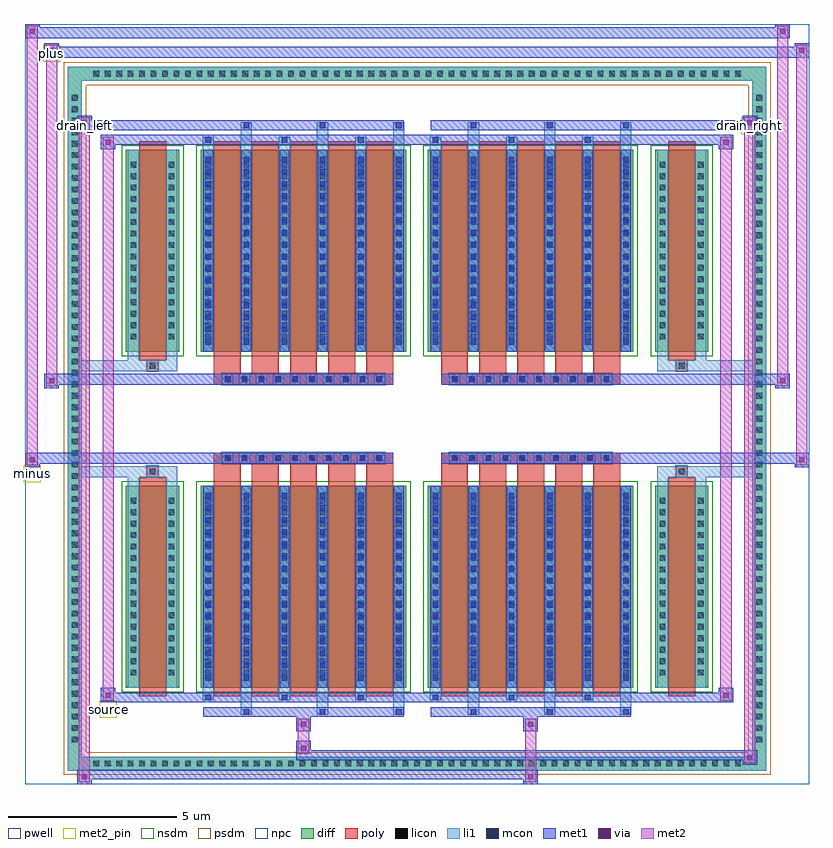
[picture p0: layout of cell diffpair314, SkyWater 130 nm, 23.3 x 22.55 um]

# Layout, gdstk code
import gdstk
lib = gdstk.Library(unit=1e-6, precision=5e-09)
def R(c, l, rs):  # rectangles x0, y0, x1, y1
    for r in rs: c.add(gdstk.rectangle(r[:2], r[2:], *l))
def A(c, l, x, y, w, h, nx, ny, dx, dy):  # array of equal rectangles
    R(c, l, [(x+i*dx, y+j*dy, x+i*dx+w, y+j*dy+h) for i in range(nx) for j in range(ny)])
def P(c, l, *ps):  # polygons
    for p in ps: c.add(gdstk.Polygon(p, *l))
pwell = (64, 44)
diff = (65, 20)
poly = (66, 20)
licon = (66, 44)
li1 = (67, 20)
mcon = (67, 44)
met1 = (68, 20)
via = (68, 44)
met2_pin = (69, 16)
met2 = (69, 20)
nsdm = (93, 44)
psdm = (94, 20)
npc = (95, 20)

diffpair314 = lib.new_cell('diffpair314')
R(diffpair314, pwell, [(-11.63,-10.84,11.63,11.71), (-8.95,-9.03,-0.01,-0.805), (0.01,-9.03,8.95,-0.805), (-8.95,0.805,-0.01,9.03), (0.01,0.805,8.95,9.03)])
A(diffpair314, diff, -9.725, -10.44, 0.41, 0.41, 57, 2, 0.34, 20.47)
A(diffpair314, diff, -10.36, -9.725, 0.41, 0.41, 1, 57, 0, 0.34)
A(diffpair314, diff, 9.95, -9.725, 0.41, 0.41, 1, 57, 0, 0.34)
R(diffpair314, diff, [(-9.725,-10.44,9.725,-10.03), (-10.36,-9.725,-9.95,9.725), (9.95,-9.725,10.36,9.725), (-8.64,-7.985,-7.06,-1.985), (-6.42,-7.985,-0.32,-1.985), (0.32,-7.985,6.42,-1.985), (7.06,-7.985,8.64,-1.985), (-8.64,1.985,-7.06,7.985), (-6.42,1.985,-0.32,7.985), (0.32,1.985,6.42,7.985), (7.06,1.985,8.64,7.985), (-9.725,10.03,9.725,10.44)])
P(diffpair314, diff, [(10.36,10.44),(-10.36,10.44),(-10.36,-10.03),(-9.95,-10.03),(-9.95,10.03),(9.95,10.03),(9.95,-10.03),(-9.95,-10.03),(-10.36,-10.03),(-10.36,-10.44),(10.36,-10.44)])
A(diffpair314, poly, -6.03, -8.235, 0.8, 6.5, 5, 2, 1.13, 9.97)
A(diffpair314, poly, 0.71, -8.235, 0.8, 6.5, 5, 2, 1.13, 9.97)
A(diffpair314, poly, -6.03, -1.735, 0.8, 0.4, 5, 2, 1.13, 3.07)
A(diffpair314, poly, 0.71, -1.735, 0.8, 0.4, 5, 2, 1.13, 3.07)
A(diffpair314, poly, -5.785, -1.335, 0.33, 0.33, 10, 2, 0.5, 2.34)
A(diffpair314, poly, 0.955, -1.335, 0.33, 0.33, 10, 2, 0.5, 2.34)
R(diffpair314, poly, [(-8.25,-8.235,-7.45,-1.735), (7.45,-8.235,8.25,-1.735), (-8.015,-1.735,-7.685,-1.405), (-8.015,-1.735,-7.685,-1.405), (7.685,-1.735,8.015,-1.405), (7.685,-1.735,8.015,-1.405), (-6.03,-1.335,-0.71,-1.005), (0.71,-1.335,6.03,-1.005), (-6.03,1.005,-0.71,1.335), (0.71,1.005,6.03,1.335), (-8.015,1.405,-7.685,1.735), (-8.015,1.405,-7.685,1.735), (7.685,1.405,8.015,1.735), (7.685,1.405,8.015,1.735), (-8.25,1.735,-7.45,8.235), (7.45,1.735,8.25,8.235)])
A(diffpair314, licon, -9.605, -10.32, 0.17, 0.17, 57, 2, 0.34, 20.47)
A(diffpair314, licon, -10.24, -9.605, 0.17, 0.17, 1, 57, 0, 0.34)
A(diffpair314, licon, 10.07, -9.605, 0.17, 0.17, 1, 57, 0, 0.34)
A(diffpair314, licon, -8.5, -7.62, 0.17, 0.17, 1, 16, 0, 0.34)
A(diffpair314, licon, -7.37, -7.62, 0.17, 0.17, 1, 16, 0, 0.34)
A(diffpair314, licon, -6.28, -7.62, 0.17, 0.17, 6, 16, 1.13, 0.34)
A(diffpair314, licon, 0.46, -7.62, 0.17, 0.17, 6, 16, 1.13, 0.34)
A(diffpair314, licon, 7.2, -7.62, 0.17, 0.17, 1, 16, 0, 0.34)
A(diffpair314, licon, 8.33, -7.62, 0.17, 0.17, 1, 16, 0, 0.34)
A(diffpair314, licon, -5.705, -1.255, 0.17, 0.17, 10, 2, 0.5, 2.34)
A(diffpair314, licon, 1.035, -1.255, 0.17, 0.17, 10, 2, 0.5, 2.34)
A(diffpair314, licon, -8.5, 2.35, 0.17, 0.17, 1, 16, 0, 0.34)
A(diffpair314, licon, -7.37, 2.35, 0.17, 0.17, 1, 16, 0, 0.34)
A(diffpair314, licon, -6.28, 2.35, 0.17, 0.17, 6, 16, 1.13, 0.34)
A(diffpair314, licon, 0.46, 2.35, 0.17, 0.17, 6, 16, 1.13, 0.34)
A(diffpair314, licon, 7.2, 2.35, 0.17, 0.17, 1, 16, 0, 0.34)
A(diffpair314, licon, 8.33, 2.35, 0.17, 0.17, 1, 16, 0, 0.34)
R(diffpair314, licon, [(-7.935,-1.655,-7.765,-1.485), (7.765,-1.655,7.935,-1.485), (-7.935,1.485,-7.765,1.655), (7.765,1.485,7.935,1.655)])
A(diffpair314, li1, -9.685, -10.4, 0.33, 0.33, 57, 2, 0.34, 20.47)
A(diffpair314, li1, -10.32, -9.685, 0.33, 0.33, 1, 57, 0, 0.34)
A(diffpair314, li1, 9.99, -9.685, 0.33, 0.33, 1, 57, 0, 0.34)
A(diffpair314, li1, -5.23, -8.79, 0.33, 0.805, 3, 2, 2.26, 16.775)
A(diffpair314, li1, -5.15, -8.79, 0.17, 0.17, 3, 2, 2.26, 17.41)
A(diffpair314, li1, 1.51, -8.79, 0.33, 0.805, 3, 2, 2.26, 16.775)
A(diffpair314, li1, 1.59, -8.79, 0.17, 0.17, 3, 2, 2.26, 17.41)
A(diffpair314, li1, -6.36, -8.36, 0.33, 0.375, 3, 2, 2.26, 16.345)
A(diffpair314, li1, -6.28, -8.36, 0.17, 0.17, 3, 2, 2.26, 16.55)
A(diffpair314, li1, 0.38, -8.36, 0.33, 0.375, 3, 2, 2.26, 16.345)
A(diffpair314, li1, 0.46, -8.36, 0.17, 0.17, 3, 2, 2.26, 16.55)
A(diffpair314, li1, -6.36, -7.985, 0.33, 6, 6, 2, 1.13, 9.97)
A(diffpair314, li1, 0.38, -7.985, 0.33, 6, 6, 2, 1.13, 9.97)
A(diffpair314, li1, -6.28, -7.77, 0.17, 0.17, 6, 16, 1.13, 0.36)
A(diffpair314, li1, -6.28, -7.77, 0.17, 5.57, 6, 2, 1.13, 9.97)
A(diffpair314, li1, 0.46, -7.77, 0.17, 0.17, 6, 16, 1.13, 0.36)
A(diffpair314, li1, 0.46, -7.77, 0.17, 5.57, 6, 2, 1.13, 9.97)
A(diffpair314, li1, -8.58, -7.7, 0.33, 0.33, 1, 16, 0, 0.34)
A(diffpair314, li1, -7.45, -7.7, 0.33, 0.33, 1, 16, 0, 0.34)
A(diffpair314, li1, -6.36, -7.7, 0.33, 0.33, 6, 16, 1.13, 0.34)
A(diffpair314, li1, 0.38, -7.7, 0.33, 0.33, 6, 16, 1.13, 0.34)
A(diffpair314, li1, 7.12, -7.7, 0.33, 0.33, 1, 16, 0, 0.34)
A(diffpair314, li1, 8.25, -7.7, 0.33, 0.33, 1, 16, 0, 0.34)
A(diffpair314, li1, -5.785, -1.335, 0.33, 0.33, 10, 2, 0.5, 2.34)
A(diffpair314, li1, 0.955, -1.335, 0.33, 0.33, 10, 2, 0.5, 2.34)
A(diffpair314, li1, -6.28, 2.2, 0.17, 0.17, 6, 16, 1.13, 0.36)
A(diffpair314, li1, 0.46, 2.2, 0.17, 0.17, 6, 16, 1.13, 0.36)
A(diffpair314, li1, -8.58, 2.27, 0.33, 0.33, 1, 16, 0, 0.34)
A(diffpair314, li1, -7.45, 2.27, 0.33, 0.33, 1, 16, 0, 0.34)
A(diffpair314, li1, -6.36, 2.27, 0.33, 0.33, 6, 16, 1.13, 0.34)
A(diffpair314, li1, 0.38, 2.27, 0.33, 0.33, 6, 16, 1.13, 0.34)
A(diffpair314, li1, 7.12, 2.27, 0.33, 0.33, 1, 16, 0, 0.34)
A(diffpair314, li1, 8.25, 2.27, 0.33, 0.33, 1, 16, 0, 0.34)
R(diffpair314, li1, [(-10.36,-10.44,-9.95,-10.03), (-10.36,-10.44,-9.95,-10.03), (-9.95,-10.44,9.95,-10.03), (9.95,-10.44,10.36,-10.03), (9.95,-10.44,10.36,-10.03), (-10.36,-10.03,-9.95,10.03), (9.95,-10.03,10.36,10.03), (-8.58,-7.985,-8.25,-1.985), (-7.45,-7.985,-7.12,-1.985), (7.12,-7.985,7.45,-1.985), (8.25,-7.985,8.58,-1.985), (-8.58,-1.985,-8.25,-1.405), (-7.45,-1.985,-7.12,-1.405), (7.12,-1.985,7.45,-1.405), (8.25,-1.985,8.58,-1.405), (-10.36,-1.735,-8.015,-1.405), (-8.58,-1.735,-8.015,-1.405), (-8.015,-1.735,-7.685,-1.405), (-7.685,-1.735,-7.12,-1.405), (7.12,-1.735,7.685,-1.405), (7.685,-1.735,8.015,-1.405), (7.685,-1.735,10.36,-1.405), (8.015,-1.735,8.58,-1.405), (-10.36,1.405,-8.015,1.735), (-8.58,1.405,-8.015,1.735), (-8.58,1.405,-8.25,1.985), (-8.015,1.405,-7.685,1.735), (-7.685,1.405,-7.12,1.735), (-7.45,1.405,-7.12,1.985), (7.12,1.405,7.685,1.735), (7.12,1.405,7.45,1.985), (7.685,1.405,8.015,1.735), (7.685,1.405,10.36,1.735), (8.015,1.405,8.58,1.735), (8.25,1.405,8.58,1.985), (-8.58,1.985,-8.25,7.985), (-7.45,1.985,-7.12,7.985), (7.12,1.985,7.45,7.985), (8.25,1.985,8.58,7.985), (-10.36,10.03,-9.95,10.44), (-10.36,10.03,-9.95,10.44), (-9.95,10.03,9.95,10.44), (9.95,10.03,10.36,10.44), (9.95,10.03,10.36,10.44)])
A(diffpair314, mcon, -5.15, -8.79, 0.17, 0.17, 3, 2, 2.26, 17.41)
A(diffpair314, mcon, 1.59, -8.79, 0.17, 0.17, 3, 2, 2.26, 17.41)
A(diffpair314, mcon, -6.28, -8.36, 0.17, 0.17, 3, 2, 2.26, 16.55)
A(diffpair314, mcon, 0.46, -8.36, 0.17, 0.17, 3, 2, 2.26, 16.55)
A(diffpair314, mcon, -6.28, -7.77, 0.17, 0.17, 6, 16, 1.13, 0.36)
A(diffpair314, mcon, 0.46, -7.77, 0.17, 0.17, 6, 16, 1.13, 0.36)
A(diffpair314, mcon, -5.705, -1.255, 0.17, 0.17, 10, 2, 0.5, 2.34)
A(diffpair314, mcon, 1.035, -1.255, 0.17, 0.17, 10, 2, 0.5, 2.34)
A(diffpair314, mcon, -6.28, 2.2, 0.17, 0.17, 6, 16, 1.13, 0.36)
A(diffpair314, mcon, 0.46, 2.2, 0.17, 0.17, 6, 16, 1.13, 0.36)
A(diffpair314, met1, -5.21, -8.85, 0.29, 0.29, 3, 2, 2.26, 17.41)
A(diffpair314, met1, 1.53, -8.85, 0.29, 0.29, 3, 2, 2.26, 17.41)
A(diffpair314, met1, -6.34, -8.42, 0.29, 0.29, 3, 2, 2.26, 16.55)
A(diffpair314, met1, 0.4, -8.42, 0.29, 0.29, 3, 2, 2.26, 16.55)
A(diffpair314, met1, -6.34, -7.985, 0.29, 6, 6, 2, 1.13, 9.97)
A(diffpair314, met1, 0.4, -7.985, 0.29, 6, 6, 2, 1.13, 9.97)
A(diffpair314, met1, -6.34, -7.83, 0.29, 0.29, 6, 16, 1.13, 0.36)
A(diffpair314, met1, 0.4, -7.83, 0.29, 0.29, 6, 16, 1.13, 0.36)
A(diffpair314, met1, -5.765, -1.315, 0.29, 0.29, 10, 2, 0.5, 2.34)
A(diffpair314, met1, 0.975, -1.315, 0.29, 0.29, 10, 2, 0.5, 2.34)
A(diffpair314, met1, -6.34, 2.14, 0.29, 0.29, 6, 16, 1.13, 0.36)
A(diffpair314, met1, 0.4, 2.14, 0.29, 0.29, 6, 16, 1.13, 0.36)
R(diffpair314, met1, [(-10.09,-10.84,-9.66,-10.41), (3.155,-10.84,3.585,-10.41), (-10.09,-10.7,3.585,-10.41), (9.66,-10.27,10.09,-9.84), (-3.585,-10.13,10.09,-9.84), (-3.585,-9.99,-3.155,-9.56), (-3.585,-9.28,-3.155,-8.85), (3.155,-9.28,3.585,-8.85), (-6.34,-8.85,-0.4,-8.56), (0.4,-8.85,6.34,-8.56), (-9.38,-8.42,-8.95,-7.99), (-9.38,-8.42,-6.34,-8.13), (-6.34,-8.42,-0.4,-8.13), (-0.4,-8.42,0.4,-8.13), (0.4,-8.42,6.34,-8.13), (6.34,-8.42,9.38,-8.13), (8.95,-8.42,9.38,-7.99), (-11.63,-1.435,-11.2,-1.005), (11.2,-1.435,11.63,-1.005), (-11.63,-1.335,-0.71,-1.005), (-6.03,-1.335,-0.71,-1.005), (0.71,-1.335,6.03,-1.005), (0.71,-1.335,11.63,-1.005), (-11.06,0.905,-10.63,1.335), (10.63,0.905,11.06,1.335), (-11.06,1.005,-6.03,1.335), (-6.03,1.005,-0.71,1.335), (0.71,1.005,6.03,1.335), (6.03,1.005,11.06,1.335), (-9.38,7.99,-8.95,8.42), (8.95,7.99,9.38,8.42), (-9.38,8.13,-6.34,8.42), (-6.34,8.13,-0.4,8.42), (-0.4,8.13,0.4,8.42), (0.4,8.13,6.34,8.42), (6.34,8.13,9.38,8.42), (-10.09,8.56,-9.66,8.99), (-10.09,8.56,-6.34,8.85), (-6.34,8.56,-0.4,8.85), (0.4,8.56,6.34,8.85), (6.34,8.56,10.09,8.85), (9.66,8.56,10.09,8.99), (-11.06,10.71,-10.63,11.14), (-11.06,10.71,-8.95,11.04), (-8.95,10.71,8.95,11.04), (8.95,10.71,11.63,11.04), (11.2,10.71,11.63,11.14), (-11.63,11.28,-11.2,11.71), (-11.63,11.28,-8.95,11.61), (-8.95,11.28,8.95,11.61), (8.95,11.28,11.06,11.61), (10.63,11.28,11.06,11.71)])
R(diffpair314, via, [(-9.95,-10.7,-9.8,-10.55), (3.295,-10.7,3.445,-10.55), (9.8,-10.13,9.95,-9.98), (-3.445,-9.85,-3.295,-9.7), (-3.445,-9.14,-3.295,-8.99), (3.295,-9.14,3.445,-8.99), (-9.24,-8.28,-9.09,-8.13), (9.09,-8.28,9.24,-8.13), (-11.49,-1.295,-11.34,-1.145), (11.34,-1.295,11.49,-1.145), (-10.92,1.045,-10.77,1.195), (10.77,1.045,10.92,1.195), (-9.24,8.13,-9.09,8.28), (9.09,8.13,9.24,8.28), (-9.95,8.7,-9.8,8.85), (9.8,8.7,9.95,8.85), (-10.92,10.85,-10.77,11), (11.34,10.85,11.49,11), (-11.49,11.42,-11.34,11.57), (10.77,11.42,10.92,11.57)])
R(diffpair314, met2_pin, [(-9.415,-8.87,-8.915,-8.37), (-11.665,-1.885,-11.165,-1.385), (-10.125,8.44,-9.625,8.94), (9.625,8.44,10.125,8.94), (-11.095,10.59,-10.595,11.09)])
R(diffpair314, met2, [(-10.04,-10.79,-9.71,-10.46), (-10.04,-10.79,-9.71,8.94), (3.205,-10.79,3.535,-10.46), (3.205,-10.46,3.535,-9.23), (9.71,-10.22,10.04,-9.89), (9.71,-10.22,10.04,8.94), (-3.535,-9.94,-3.205,-9.61), (-3.535,-9.61,-3.205,-9.23), (-3.535,-9.23,-3.205,-8.9), (3.205,-9.23,3.535,-8.9), (-9.33,-8.37,-9,-8.04), (-9.33,-8.37,-9,8.37), (9,-8.37,9.33,-8.04), (9,-8.37,9.33,8.37), (-11.58,-1.385,-11.25,-1.055), (-11.58,-1.385,-11.25,11.66), (11.25,-1.385,11.58,-1.055), (11.25,-1.385,11.58,11.09), (-11.01,0.955,-10.68,1.285), (-11.01,0.955,-10.68,11.09), (10.68,0.955,11.01,1.285), (10.68,0.955,11.01,11.66), (-9.33,8.04,-9,8.37), (9,8.04,9.33,8.37), (-10.04,8.61,-9.71,8.94), (9.71,8.61,10.04,8.94), (-11.01,10.76,-10.68,11.09), (11.25,10.76,11.58,11.09), (-11.58,11.33,-11.25,11.66), (10.68,11.33,11.01,11.66)])
P(diffpair314, met2, [(11.58,-1.385),(11.58,-1.385),(11.58,-1.055),(11.58,-1.055)],
  [(11.58,10.76),(11.58,10.76),(11.58,11.09),(11.58,11.09)],
  [(-11.25,-1.385),(-11.25,-1.385),(-11.25,-1.055),(-11.25,-1.055)],
  [(-11.25,11.33),(-11.25,11.33),(-11.25,11.66),(-11.25,11.66)],
  [(11.01,0.955),(11.01,0.955),(11.01,1.285),(11.01,1.285)],
  [(11.01,11.33),(11.01,11.33),(11.01,11.66),(11.01,11.66)],
  [(-10.68,0.955),(-10.68,0.955),(-10.68,1.285),(-10.68,1.285)],
  [(-10.68,10.76),(-10.68,10.76),(-10.68,11.09),(-10.68,11.09)],
  [(-9.71,-10.79),(-9.71,-10.79),(-9.71,-10.46),(-9.71,-10.46)],
  [(-9.71,8.61),(-9.71,8.61),(-9.71,8.94),(-9.71,8.94)],
  [(10.04,-10.22),(10.04,-10.22),(10.04,-9.89),(10.04,-9.89)],
  [(10.04,8.61),(10.04,8.61),(10.04,8.94),(10.04,8.94)],
  [(-9,-8.37),(-9,-8.37),(-9,-8.04),(-9,-8.04)],
  [(-9,8.04),(-9,8.04),(-9,8.37),(-9,8.37)],
  [(9.33,-8.37),(9.33,-8.37),(9.33,-8.04),(9.33,-8.04)],
  [(9.33,8.04),(9.33,8.04),(9.33,8.37),(9.33,8.37)])
R(diffpair314, nsdm, [(-8.77,-8.115,-6.93,-1.855), (-6.55,-8.115,-0.19,-1.855), (0.19,-8.115,6.55,-1.855), (6.93,-8.115,8.77,-1.855), (-8.77,1.855,-6.93,8.115), (-6.55,1.855,-0.19,8.115), (0.19,1.855,6.55,8.115), (6.93,1.855,8.77,8.115)])
P(diffpair314, psdm, [(10.49,10.57),(-10.49,10.57),(-10.49,-9.9),(-9.82,-9.9),(-9.82,9.9),(9.82,9.9),(9.82,-9.9),(-9.82,-9.9),(-10.49,-9.9),(-10.49,-10.57),(10.49,-10.57)])
A(diffpair314, npc, -5.805, -1.355, 0.37, 0.37, 10, 2, 0.5, 2.34)
A(diffpair314, npc, 0.935, -1.355, 0.37, 0.37, 10, 2, 0.5, 2.34)
R(diffpair314, npc, [(-8.035,-1.755,-7.665,-1.385), (7.665,-1.755,8.035,-1.385), (-5.805,-1.355,-4.935,-0.985), (-5.805,-1.355,-4.935,-0.985), (-5.305,-1.355,-4.435,-0.985), (-5.305,-1.355,-4.435,-0.985), (-4.805,-1.355,-3.935,-0.985), (-4.805,-1.355,-3.935,-0.985), (-4.305,-1.355,-3.435,-0.985), (-4.305,-1.355,-3.435,-0.985), (-3.805,-1.355,-2.935,-0.985), (-3.805,-1.355,-2.935,-0.985), (-3.305,-1.355,-2.435,-0.985), (-3.305,-1.355,-2.435,-0.985), (-2.805,-1.355,-1.935,-0.985), (-2.805,-1.355,-1.935,-0.985), (-2.305,-1.355,-1.435,-0.985), (-2.305,-1.355,-1.435,-0.985), (-1.805,-1.355,-0.935,-0.985), (-1.805,-1.355,-0.935,-0.985), (0.935,-1.355,1.805,-0.985), (0.935,-1.355,1.805,-0.985), (1.435,-1.355,2.305,-0.985), (1.435,-1.355,2.305,-0.985), (1.935,-1.355,2.805,-0.985), (1.935,-1.355,2.805,-0.985), (2.435,-1.355,3.305,-0.985), (2.435,-1.355,3.305,-0.985), (2.935,-1.355,3.805,-0.985), (2.935,-1.355,3.805,-0.985), (3.435,-1.355,4.305,-0.985), (3.435,-1.355,4.305,-0.985), (3.935,-1.355,4.805,-0.985), (3.935,-1.355,4.805,-0.985), (4.435,-1.355,5.305,-0.985), (4.435,-1.355,5.305,-0.985), (4.935,-1.355,5.805,-0.985), (4.935,-1.355,5.805,-0.985), (-5.805,0.985,-4.935,1.355), (-5.805,0.985,-4.935,1.355), (-5.305,0.985,-4.435,1.355), (-5.305,0.985,-4.435,1.355), (-4.805,0.985,-3.935,1.355), (-4.805,0.985,-3.935,1.355), (-4.305,0.985,-3.435,1.355), (-4.305,0.985,-3.435,1.355), (-3.805,0.985,-2.935,1.355), (-3.805,0.985,-2.935,1.355), (-3.305,0.985,-2.435,1.355), (-3.305,0.985,-2.435,1.355), (-2.805,0.985,-1.935,1.355), (-2.805,0.985,-1.935,1.355), (-2.305,0.985,-1.435,1.355), (-2.305,0.985,-1.435,1.355), (-1.805,0.985,-0.935,1.355), (-1.805,0.985,-0.935,1.355), (0.935,0.985,1.805,1.355), (0.935,0.985,1.805,1.355), (1.435,0.985,2.305,1.355), (1.435,0.985,2.305,1.355), (1.935,0.985,2.805,1.355), (1.935,0.985,2.805,1.355), (2.435,0.985,3.305,1.355), (2.435,0.985,3.305,1.355), (2.935,0.985,3.805,1.355), (2.935,0.985,3.805,1.355), (3.435,0.985,4.305,1.355), (3.435,0.985,4.305,1.355), (3.935,0.985,4.805,1.355), (3.935,0.985,4.805,1.355), (4.435,0.985,5.305,1.355), (4.435,0.985,5.305,1.355), (4.935,0.985,5.805,1.355), (4.935,0.985,5.805,1.355), (-8.035,1.385,-7.665,1.755), (7.665,1.385,8.035,1.755)])
diffpair314.add(gdstk.Label('minus', (-11.415,-1.635), layer=69, texttype=5))
diffpair314.add(gdstk.Label('drain_right', (9.875,8.69), layer=69, texttype=5))
diffpair314.add(gdstk.Label('drain_left', (-9.875,8.69), layer=69, texttype=5))
diffpair314.add(gdstk.Label('source', (-9.165,-8.62), layer=69, texttype=5))
diffpair314.add(gdstk.Label('plus', (-10.845,10.84), layer=69, texttype=5))

lib.write_gds('diffpair314.gds')
